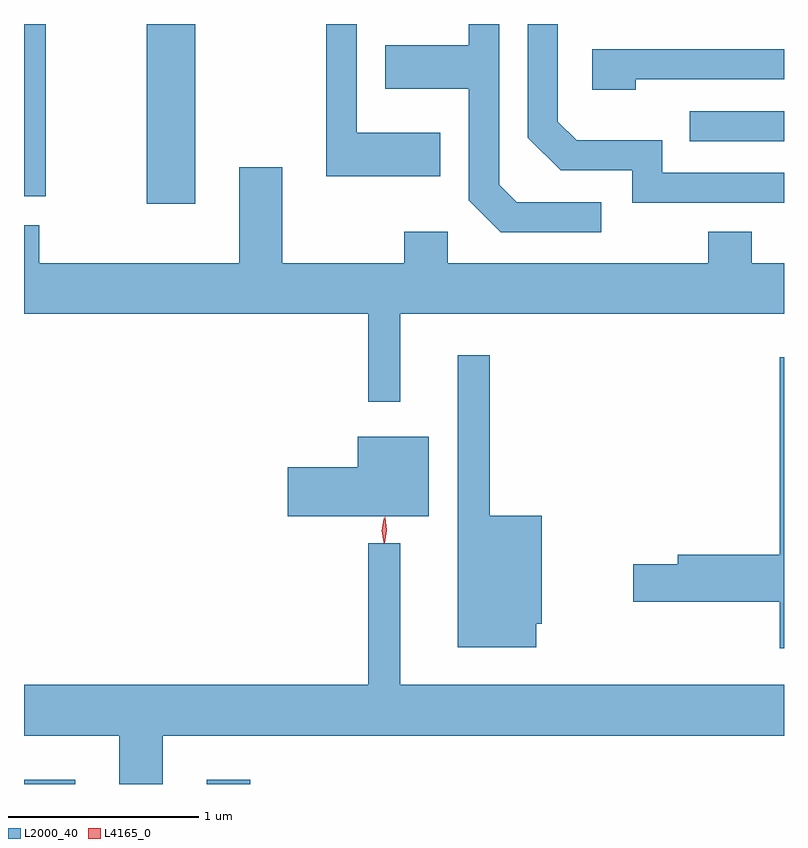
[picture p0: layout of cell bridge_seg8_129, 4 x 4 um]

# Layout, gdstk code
import gdstk
lib = gdstk.Library(unit=1e-6, precision=1e-09)
def R(c, l, rs):  # rectangles x0, y0, x1, y1
    for r in rs: c.add(gdstk.rectangle(r[:2], r[2:], *l))
def P(c, l, *ps):  # polygons
    for p in ps: c.add(gdstk.Polygon(p, *l))
L2000_40 = (2000, 40)
L4165_0 = (4165, 0)

bridge_seg8_129 = lib.new_cell('bridge_seg8_129')
R(bridge_seg8_129, L2000_40, [(1797.139,1842.822,1797.409,1842.844), (1798.101,1842.822,1798.329,1842.844), (1797.786,1845.876,1798.039,1846.822), (1797.139,1845.916,1797.254,1846.822), (1800.643,1846.206,1801.139,1846.364)])
P(bridge_seg8_129, L2000_40, [(1800.178,1845.884),(1799.732,1845.884),(1799.639,1845.977),(1799.639,1846.822),(1799.481,1846.822),(1799.481,1846.709),(1799.041,1846.709),(1799.041,1846.481),(1799.481,1846.481),(1799.481,1845.894),(1799.649,1845.726),(1800.178,1845.726)],
  [(1801.139,1846.039),(1800.499,1846.039),(1800.499,1846.209),(1800.047,1846.209),(1799.949,1846.307),(1799.949,1846.822),(1799.791,1846.822),(1799.791,1846.224),(1799.964,1846.051),(1800.341,1846.051),(1800.341,1845.881),(1801.139,1845.881)],
  [(1799.329,1846.249),(1798.889,1846.249),(1798.889,1846.822),(1798.731,1846.822),(1798.731,1846.021),(1799.329,1846.021)],
  [(1800.359,1846.531),(1801.139,1846.531),(1801.139,1846.689),(1800.131,1846.689),(1800.131,1846.476),(1800.359,1846.476)],
  [(1799.119,1845.296),(1801.139,1845.296),(1801.139,1845.564),(1800.969,1845.564),(1800.969,1845.729),(1800.741,1845.729),(1800.741,1845.564),(1799.369,1845.564),(1799.369,1845.729),(1799.141,1845.729),(1799.141,1845.564),(1798.499,1845.564),(1798.499,1846.069),(1798.271,1846.069),(1798.271,1845.564),(1797.219,1845.564),(1797.219,1845.764),(1797.139,1845.764),(1797.139,1845.296),(1798.951,1845.296),(1798.951,1844.833),(1799.119,1844.833)],
  [(1799.834,1843.666),(1799.864,1843.666),(1799.864,1844.234),(1799.589,1844.234),(1799.589,1845.078),(1799.421,1845.078),(1799.421,1843.541),(1799.834,1843.541)],
  [(1801.139,1845.069),(1801.116,1845.069),(1801.116,1844.029),(1800.581,1844.029),(1800.581,1843.979),(1800.346,1843.979),(1800.346,1843.781),(1801.116,1843.781),(1801.116,1843.536),(1801.139,1843.536)],
  [(1799.269,1844.649),(1798.896,1844.649),(1798.896,1844.489),(1798.526,1844.489),(1798.526,1844.231),(1799.269,1844.231)],
  [(1797.869,1843.076),(1801.139,1843.076),(1801.139,1843.344),(1799.119,1843.344),(1799.119,1844.088),(1798.951,1844.088),(1798.951,1843.344),(1797.139,1843.344),(1797.139,1843.076),(1797.641,1843.076),(1797.641,1842.822),(1797.869,1842.822)])
P(bridge_seg8_129, L4165_0, [(1799.032,1844.093),(1799.032,1844.093),(1799.022,1844.156),(1799.032,1844.219),(1799.032,1844.22),(1799.033,1844.219),(1799.042,1844.156),(1799.033,1844.093)],
  [(1799.036,1844.09),(1799.028,1844.158),(1799.038,1844.226),(1799.038,1844.226),(1799.039,1844.226),(1799.048,1844.158),(1799.038,1844.09),(1799.037,1844.09)])

lib.write_gds('bridge_seg8_129.gds')
